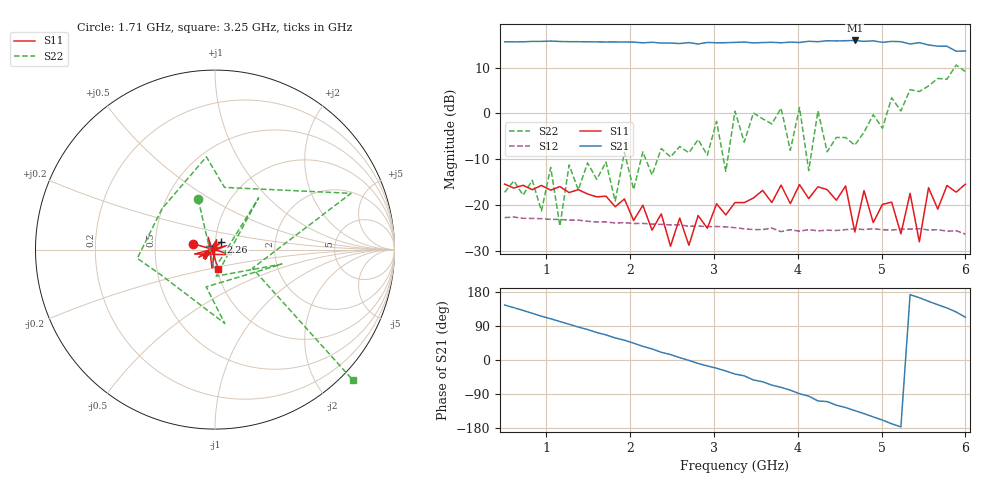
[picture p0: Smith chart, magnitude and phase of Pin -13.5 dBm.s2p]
! RsaToolbox (C) 2015 Rohde & Schwarz America
! Number of points: 51
! Number of ports: 2
! Balanced ports?: No
# Hz S RI R 50
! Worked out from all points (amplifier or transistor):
!   51 points, 500 MHz to 6 GHz, reference 50 ohm
!   highest |S21| = 15.9 dB at 4.68 GHz (marker M1)
!   |S21| within 3 dB of that: start of sweep to end of sweep
!   unconditionally stable (mu >= 1): start of sweep to 3.003 GHz; 3.047 GHz to 3.218 GHz; 4.29 GHz to 4.795 GHz (the widest 3 of 6)
!   at 1.38 GHz: K = 1.34, MAG = 16.0 dB, |S12| = -23.3 dB
!   at 3.25 GHz: K = 0.05, MSG = 20.2 dB, |S12| = -24.9 dB
!   at 6 GHz: K = -14.80, MSG = 20.0 dB, |S12| = -26.3 dB
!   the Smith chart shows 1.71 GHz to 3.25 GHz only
!   S11 on the Smith chart (normalised r, x): 1.71 GHz: 0.78, +0.05; 2.26 GHz: 1.07, +0.09; 3.25 GHz: 1.01, -0.22
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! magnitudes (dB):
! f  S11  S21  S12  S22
! 500 MHz  -15.4  15.6  -22.7  -17.2
! 940 MHz  -15.7  15.7  -23.0  -21.3
! 1.05 GHz  -16.7  15.8  -23.1  -11.8
! 1.16 GHz  -16.0  15.7  -23.1  -24.5
! 1.27 GHz  -17.3  15.7  -23.3  -11.2
! 1.49 GHz  -17.6  15.7  -23.5  -10.8
! 1.71 GHz  -18.0  15.6  -23.7  -10.6
! 1.82 GHz  -20.3  15.6  -23.9  -19.1
! 2.26 GHz  -25.5  15.5  -24.1  -13.4
! 2.37 GHz  -21.9  15.4  -24.2  -7.6
! 3.03 GHz  -19.7  15.4  -24.7  -1.7
! 3.14 GHz  -22.1  15.4  -24.7  -12.6
! 3.25 GHz  -19.4  15.5  -24.9  0.5
! 3.91 GHz  -19.7  15.6  -25.4  -8.0
! 4.02 GHz  -15.5  15.5  -25.7  1.3
! 4.13 GHz  -18.6  15.8  -25.3  -12.5
! 4.24 GHz  -16.0  15.7  -25.6  0.6
! 4.68 GHz  -25.9  15.9  -25.1  -6.9
! 5.12 GHz  -19.3  15.7  -25.4  3.4
! 5.45 GHz  -28.0  15.5  -25.1  4.8
! 5.56 GHz  -16.2  15.0  -25.4  6.0
! 6 GHz  -15.4  13.6  -26.3  9.2
